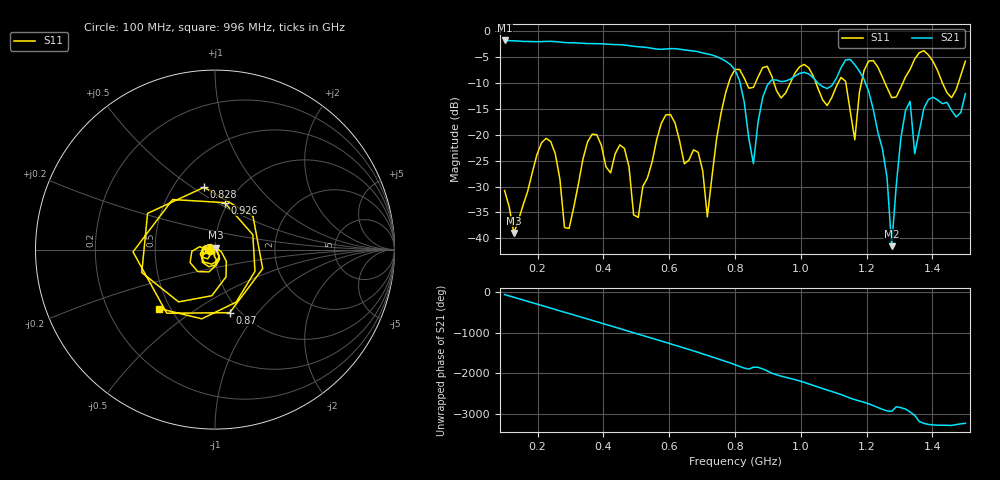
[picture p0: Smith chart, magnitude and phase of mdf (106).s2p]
! NanoVNA-App
! Date: 2025-09-25 15:39:15
! Start: 100MHz Stop: 1,5GHz Points: 101
! S-Parameter data: F S11 S21 S12 S22
# Hz S RI R 50
!  Frequency  S11_Real  S11_Imag  S21_Real  S21_Imag  S12_Real  S12_Imag  S22_Real  S22_Imag
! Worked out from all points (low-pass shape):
!   101 points, 100 MHz to 1.5 GHz, reference 50 ohm
!   highest |S21| = -1.80 dB at 100 MHz (marker M1); lowest = -41.5 dB at 1.276 GHz (marker M2)
!   |S21| within 3 dB of the highest: start of sweep to 739.5 MHz
!   lowest |S11| = -39.0 dB at 128 MHz (marker M3), VSWR 1.02, Z = 50.3 + j1.08 ohm
!   |S11| at or under -10 dB: start of sweep to 781 MHz; 918.5 MHz to 968.1 MHz (49.64 MHz wide, 5.26 % of centre); 1.046 GHz to 1.113 GHz (67.49 MHz wide, 6.25 % of centre) (the widest 3 of 7)
!   S12 and S22 are empty: the file has one direction only
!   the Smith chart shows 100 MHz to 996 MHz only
!   S11 on the Smith chart (normalised r, x): 100 MHz: 0.94, -0.01; 828 MHz: 0.70, +0.56; 870 MHz: 0.90, -0.73; 926 MHz: 0.96, +0.54; 996 MHz: 0.44, -0.36
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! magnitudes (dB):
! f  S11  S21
! 100 MHz  -30.8  -1.8
! 128 MHz  -39.0  -1.9
! 212 MHz  -21.6  -2.0
! 282 MHz  -37.9  -2.2
! 338 MHz  -24.7  -2.3
! 464 MHz  -22.6  -2.7
! 506 MHz  -35.9  -3.0
! 576 MHz  -17.8  -3.5
! 688 MHz  -23.4  -4.0
! 716 MHz  -35.8  -4.4
! 800 MHz  -7.4  -7.5
! 828 MHz  -9.1  -13.7
! 856 MHz  -10.9  -25.6
! 870 MHz  -8.9  -17.5
! 926 MHz  -11.5  -9.4
! 996 MHz  -6.9  -8.2
! 1.038 GHz  -8.7  -9.0
! 1.164 GHz  -21.0  -6.5
! 1.192 GHz  -7.6  -9.3
! 1.276 GHz  -12.8  -41.5
! 1.318 GHz  -8.8  -15.3
! 1.5 GHz  -5.8  -12.1
